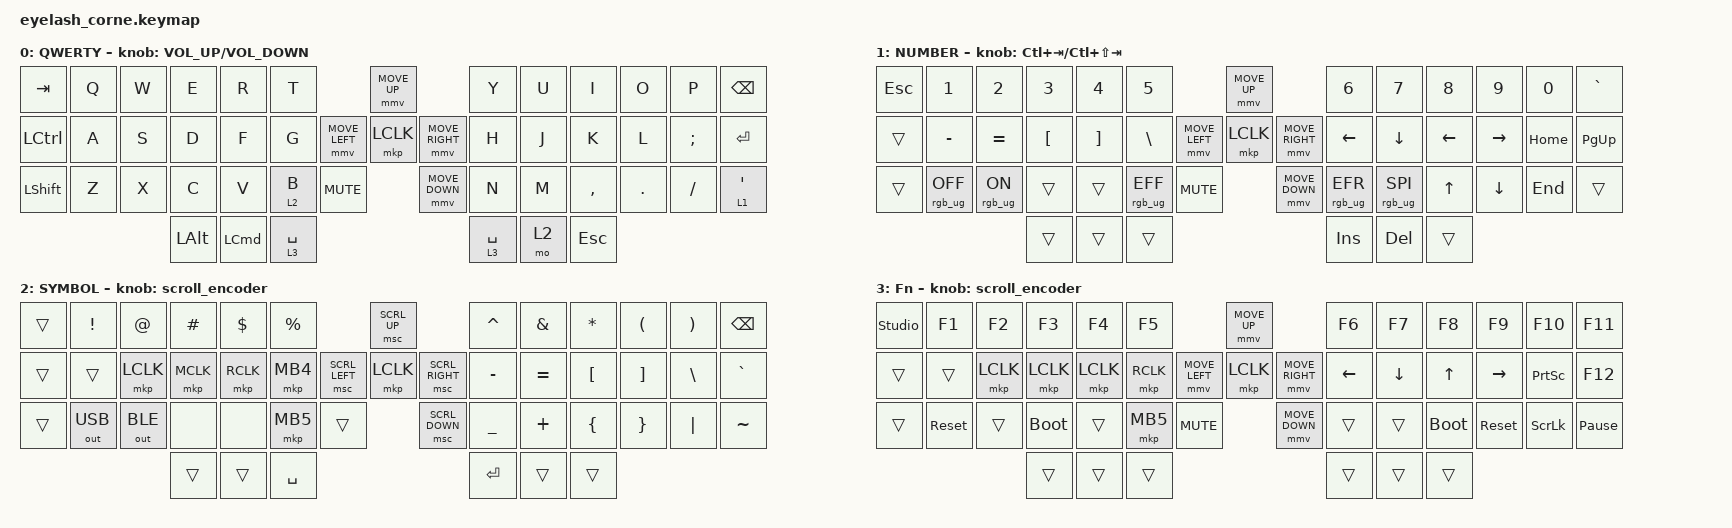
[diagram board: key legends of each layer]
#include <input/processors.dtsi>
#include <dt-bindings/zmk/mouse.h>
#include <behaviors.dtsi>
#include <dt-bindings/zmk/keys.h>
#include <dt-bindings/zmk/outputs.h>
#include <dt-bindings/zmk/pointing.h>
#include <dt-bindings/zmk/pointing.h>
#include <dt-bindings/zmk/pointing.h>
#include <dt-bindings/zmk/rgb.h>

/*

   &mmv_input_listener {
       input-processors = <&zip_xy_scaler 2 1>;
   };

   &msc_input_listener {
       input-processors = <&zip_xy_scaler 2 1>;
   };

 */

#define ZMK_MOUSE_DEFAULT_MOVE_VAL 2300  // 600
#define ZMK_MOUSE_DEFAULT_SCRL_VAL 30    // 10

/ {
    behaviors {
        td0: td0 {
            compatible = "zmk,behavior-tap-dance";
            display-name = "Shift/Caps Lock Tap Dance";
            #binding-cells = <0>;
            bindings = <&kp LEFT_SHIFT>, <&kp CAPS>;
        };
    };

    rgb_encoder: rgb_encoder {
        compatible = "zmk,behavior-sensor-rotate";
        #sensor-binding-cells = <0>;
        bindings = <&rgb_ug RGB_BRI>, <&rgb_ug RGB_BRD>;
    };

    scroll_encoder: scroll_encoder {
        compatible = "zmk,behavior-sensor-rotate";
        #sensor-binding-cells = <0>;
        bindings = <&msc SCRL_DOWN>, <&msc SCRL_UP>;

        tap-ms = <30>;
    };

    keymap {
        compatible = "zmk,keymap";

        default_layer {
            display-name = "QWERTY";
            bindings = <
&kp TAB           &kp Q  &kp W  &kp E         &kp R             &kp T                                      &mmv MOVE_UP                     &kp Y        &kp U  &kp I      &kp O    &kp P     &kp BSPC
&kp LEFT_CONTROL  &kp A  &kp S  &kp D         &kp F             &kp G                      &mmv MOVE_LEFT  &mkp LCLK       &mmv MOVE_RIGHT  &kp H        &kp J  &kp K      &kp L    &kp SEMI  &kp ENTER
&kp LEFT_SHIFT    &kp Z  &kp X  &kp C         &kp V             &lt 2 B      &kp C_MUTE                    &mmv MOVE_DOWN                   &kp N        &kp M  &kp COMMA  &kp DOT  &kp FSLH  &lt 1 SQT
                                &kp LEFT_ALT  &kp LEFT_COMMAND  &lt 3 SPACE                                                                 &lt 3 SPACE  &mo 2  &kp ESC
            >;

            sensor-bindings = <&inc_dec_kp C_VOLUME_UP C_VOLUME_DOWN>;
        };

        lower_layer {
            display-name = "NUMBER";
            bindings = <
&kp ESC  &kp N1           &kp N2          &kp N3    &kp N4    &kp N5                                         &mmv MOVE_UP                     &kp N6           &kp N7           &kp N8          &kp N9          &kp N0    &kp GRAVE
&trans   &kp MINUS        &kp EQUAL       &kp LBKT  &kp RBKT  &kp BSLH                       &mmv MOVE_LEFT  &mkp LCLK       &mmv MOVE_RIGHT  &kp LEFT         &kp DOWN         &kp LEFT_ARROW  &kp RIGHT       &kp HOME  &kp PG_UP
&trans   &rgb_ug RGB_OFF  &rgb_ug RGB_ON  &trans    &trans    &rgb_ug RGB_EFF  &kp C_MUTE                    &mmv MOVE_DOWN                   &rgb_ug RGB_EFR  &rgb_ug RGB_SPI  &kp UP_ARROW    &kp DOWN_ARROW  &kp END   &trans
                                          &trans    &trans    &trans                                                                          &kp INS          &kp DEL          &trans
            >;

            sensor-bindings = <&inc_dec_kp LC(TAB) LC(LS(TAB))>;
        };

        raise_layer {
            display-name = "SYMBOL";
            bindings = <
&trans  &kp EXCL      &kp AT        &kp HASH   &kp DLLR   &kp PRCNT                            &msc SCRL_UP                     &kp CARET  &kp AMPS   &kp ASTRK  &kp LPAR  &kp RPAR  &kp BSPC
&trans  &trans        &mkp LCLK     &mkp MCLK  &mkp RCLK  &mkp MB4             &msc SCRL_LEFT  &mkp LCLK       &msc SCRL_RIGHT  &kp MINUS  &kp EQUAL  &kp LBKT   &kp RBKT  &kp BSLH  &kp GRAVE
&trans  &out OUT_USB  &out OUT_BLE  &none      &none      &mkp MB5   &trans                    &msc SCRL_DOWN                   &kp UNDER  &kp PLUS   &kp LBRC   &kp RBRC  &kp PIPE  &kp TILDE
                                    &trans     &trans     &kp SPACE                                                             &kp RET    &trans     &trans
            >;

            sensor-bindings = <&scroll_encoder>;
        };

        layer_3 {
            display-name = "Fn";
            bindings = <
&studio_unlock  &kp F1      &kp F2     &kp F3       &kp F4     &kp F5                                   &mmv MOVE_UP                     &kp F6          &kp F7          &kp F8        &kp F9           &kp F10          &kp F11
&trans          &trans      &mkp LCLK  &mkp LCLK    &mkp LCLK  &mkp RCLK                &mmv MOVE_LEFT  &mkp LCLK       &mmv MOVE_RIGHT  &kp LEFT_ARROW  &kp DOWN_ARROW  &kp UP_ARROW  &kp RIGHT_ARROW  &kp PRINTSCREEN  &kp F12
&trans          &sys_reset  &trans     &bootloader  &trans     &mkp MB5   &kp C_MUTE                    &mmv MOVE_DOWN                   &trans          &trans          &bootloader   &sys_reset       &kp SCROLLLOCK   &kp PAUSE_BREAK
                                       &trans       &trans     &trans                                                                    &trans          &trans          &trans
            >;

            sensor-bindings = <&scroll_encoder>;
        };
    };
};
